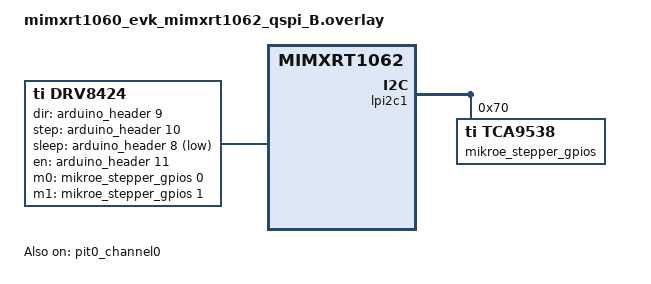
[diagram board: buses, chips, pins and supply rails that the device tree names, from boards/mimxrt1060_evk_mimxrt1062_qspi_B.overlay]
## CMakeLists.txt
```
# SPDX-FileCopyrightText: Copyright (c) 2025 Navimatix GmbH
# SPDX-License-Identifier: Apache-2.0

cmake_minimum_required(VERSION 3.20.0)
find_package(Zephyr REQUIRED HINTS $ENV{ZEPHYR_BASE})
project(stepper_const_velocity)

target_sources(app PRIVATE src/main.c)
```

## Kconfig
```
# SPDX-FileCopyrightText: Copyright (c) 2025 Navimatix GmbH
# SPDX-License-Identifier: Apache-2.0

config ZTEST_SHUFFLE
	select ENTROPY_GENERATOR
	bool "Shuffle the order of tests and suites"

config USTEPS_PER_SECOND
	int "Test speed in microsteps/s"
	default 50
	help
	  Besides being the test speed, this value is also used in several tests as the number of
	  steps to take.

source "Kconfig.zephyr"
```

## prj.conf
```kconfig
# SPDX-FileCopyrightText: Copyright (c) 2025 Navimatix GmbH
# SPDX-License-Identifier: Apache-2.0

CONFIG_ZTEST=y
CONFIG_TEST=y
CONFIG_TEST_USERSPACE=y
CONFIG_LOG=y
CONFIG_STEPPER_LOG_LEVEL_DBG=y
CONFIG_STEPPER=y
CONFIG_POLL=y
CONFIG_I2C=y
CONFIG_GPIO=y
CONFIG_STEPPER_STEP_DIR_GENERATE_ISR_SAFE_EVENTS=y
```

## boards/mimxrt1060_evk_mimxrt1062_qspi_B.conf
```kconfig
# SPDX-FileCopyrightText: Copyright (c) 2025 Navimatix GmbH
# SPDX-License-Identifier: Apache-2.0

CONFIG_SPEED_STEPS=50
```

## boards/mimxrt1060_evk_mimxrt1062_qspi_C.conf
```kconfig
# Copyright (c) 2024 Navimatix GmbH
# SPDX-License-Identifier: Apache-2.0

CONFIG_SPEED_STEPS=50
```

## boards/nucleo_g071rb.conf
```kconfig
# SPDX-FileCopyrightText: Copyright (c) 2024 Jilay Sandeep Pandya
# SPDX-License-Identifier: Apache-2.0

CONFIG_SPEED_STEPS=50
```

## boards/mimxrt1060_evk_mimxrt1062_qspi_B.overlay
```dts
/*
 * SPDX-FileCopyrightText: Copyright (c) 2025 Navimatix GmbH
 * SPDX-License-Identifier: Apache-2.0
 */

#include <zephyr/dt-bindings/gpio/gpio.h>

&lpi2c1 {
	status = "okay";

	mikroe_stepper_gpios: mikroe_stepper_ctrl_tca9538a@70 {
		status = "okay";
		compatible = "ti,tca9538";

		reg = <0x70>;

		gpio-controller;
		ngpios = <8>;
		#gpio-cells = <2>;

		gpio-reserved-ranges = <7 1>;

		gpio-line-names =
			"M0",
			"M1",
			"DEC0",
			"DEC1",
			"TOFF",
			"STP",
			"DIR";
	};
};

/ {
	chosen {
		zephyr,stepper = &drv8424;
	};

	drv8424: drv8424{
		status = "okay";
		compatible = "ti,drv8424";

		dir-gpios = <&arduino_header 9 0>; /* D3 */
		step-gpios = <&arduino_header 10 0>; /* D4 */
		sleep-gpios = <&arduino_header 8 GPIO_ACTIVE_LOW>; /* D2 */
		en-gpios  = <&arduino_header 11 0>; /* D5 */
		m0-gpios = <&mikroe_stepper_gpios 0 0>;
		m1-gpios = <&mikroe_stepper_gpios 1 0>;
		counter = <&pit0_channel0>;
	};
};

&pit0_channel0 {
	status = "okay";
};
```

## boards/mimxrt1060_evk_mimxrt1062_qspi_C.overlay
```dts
/*
 * Copyright (c) 2024 Navimatix GmbH
 * SPDX-License-Identifier: Apache-2.0
 */

#include <zephyr/dt-bindings/gpio/gpio.h>

&lpi2c1 {
	status = "okay";

	mikroe_stepper_gpios: mikroe_stepper_ctrl_tca9538a@70 {
		status = "okay";
		compatible = "ti,tca9538";

		reg = <0x70>;

		gpio-controller;
		ngpios = <8>;
		#gpio-cells = <2>;

		gpio-reserved-ranges = <7 1>;

		gpio-line-names =
			"M0",
			"M1",
			"DEC0",
			"DEC1",
			"TOFF",
			"STP",
			"DIR";
	};
};

/ {
	chosen {
		zephyr,stepper = &drv8424;
	};

	drv8424: drv8424 {
		status = "okay";
		compatible = "ti,drv8424";

		dir-gpios = <&arduino_header 9 0>; /* D3 */
		step-gpios = <&arduino_header 10 0>; /* D4 */
		sleep-gpios = <&arduino_header 8 GPIO_ACTIVE_LOW>; /* D2 */
		en-gpios  = <&arduino_header 11 0>; /* D5 */
		m0-gpios = <&mikroe_stepper_gpios 0 0>;
		m1-gpios = <&mikroe_stepper_gpios 1 0>;
		counter = <&pit0_channel0>;
	};
};

&pit0_channel0 {
	status = "okay";
};
```

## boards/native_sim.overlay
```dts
/*
 * Copyright (c) 2024 Navimatix GmbH
 * SPDX-License-Identifier: Apache-2.0
 */

#include <zephyr/dt-bindings/gpio/gpio.h>

/ {
	chosen {
		zephyr,stepper = &drv8424;
	};

	drv8424: drv8424 {
		status = "okay";
		compatible = "ti,drv8424";


		dir-gpios = <&gpio1 0 0>; /* D3 */
		step-gpios = <&gpio1 1 0>; /* D4 */
		sleep-gpios = <&gpio2 0 GPIO_ACTIVE_LOW>; /* D2 */
		en-gpios = <&gpio2 1 0>; /* 5 */
		m0-gpios = <&gpio3 0 0>;
		m1-gpios = <&gpio3 1 0>;
		counter = <&counter0>;

		#address-cells = <1>;
		#size-cells = <0>;
		#stepper-motor-cells = <0>;
	};

	gpio1: gpio1 {
		compatible = "zephyr,gpio-emul";
		#gpio-cells = <0x2>;
		status = "okay";
		gpio-controller;
	};

	gpio2: gpio2 {
		compatible = "zephyr,gpio-emul";
		#gpio-cells = <0x2>;
		status = "okay";
		gpio-controller;
	};

	gpio3: gpio3 {
		compatible = "zephyr,gpio-emul";
		#gpio-cells = <0x2>;
		status = "okay";
		gpio-controller;
	};
};
```

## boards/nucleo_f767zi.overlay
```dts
/*
 * SPDX-FileCopyrightText: Copyright (c) 2025 Navimatix GmbH
 * SPDX-License-Identifier: Apache-2.0
 */

#include <zephyr/dt-bindings/gpio/gpio.h>

&i2c1 {
	status = "okay";

	mikroe_stepper_gpios: mikroe_stepper_ctrl_tca9538a@70 {
		status = "okay";
		compatible = "ti,tca9538";

		reg = <0x70>;

		gpio-controller;
		ngpios = <8>;
		#gpio-cells = <2>;

		gpio-reserved-ranges = <7 1>;

		gpio-line-names =
			"M0",
			"M1",
			"DEC0",
			"DEC1",
			"TOFF",
			"STP",
			"DIR";
	};
};

/ {
	chosen {
		zephyr,stepper = &drv8424;
	};

	drv8424: drv8424 {
		status = "okay";
		compatible = "ti,drv8424";

		dir-gpios = <&arduino_header 18 0>; /* D12 */
		step-gpios = <&arduino_header 19 0>; /* D13 */
		sleep-gpios = <&arduino_header 15 GPIO_ACTIVE_LOW>; /* D9 */
		en-gpios  = <&arduino_header 14 0>; /* D8 */
		m0-gpios = <&mikroe_stepper_gpios 0 0>;
		m1-gpios = <&mikroe_stepper_gpios 1 0>;
		counter = <&counter2>;
	};
};

&timers2 {
	status = "okay";
	counter2: counter {
		status = "okay";
	};
};
```

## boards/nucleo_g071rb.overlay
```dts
/*
 * SPDX-FileCopyrightText: Copyright (c) 2024 Jilay Sandeep Pandya
 * SPDX-License-Identifier: Apache-2.0
 */

/ {
	chosen {
		zephyr,stepper = &gpio_stepper;
	};

	gpio_stepper: gpio_stepper {
		compatible = "zephyr,gpio-stepper";
		status = "okay";
		micro-step-res = <1>;
		gpios = <&gpioa 9 GPIO_ACTIVE_HIGH>,
			<&gpioc 7 GPIO_ACTIVE_HIGH>,
			<&gpiob 0 GPIO_ACTIVE_HIGH>,
			<&gpioa 7 GPIO_ACTIVE_HIGH>;
	};
};
```

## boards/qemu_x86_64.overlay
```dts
/*
 * SPDX-FileCopyrightText: Copyright (c) 2024 Jilay Sandeep Pandya
 * SPDX-License-Identifier: Apache-2.0
 */

/ {
	test {
		#address-cells = <1>;
		#size-cells = <1>;

		test_gpio: gpio@deadbeef {
			compatible = "vnd,gpio";
			gpio-controller;
			reg = <0xdeadbeef 0x1000>;
			#gpio-cells = <0x2>;
			status = "okay";
		};
	};
};

/ {
	chosen {
		zephyr,stepper = &gpio_stepper;
	};

	gpio_stepper: gpio_stepper {
		compatible = "zephyr,gpio-stepper";
		status = "okay";
		micro-step-res = <1>;
		gpios = <&test_gpio 0 0>,
			<&test_gpio 0 0>,
			<&test_gpio 0 0>,
			<&test_gpio 0 0>;
	};
};
```

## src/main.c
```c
/*
 * SPDX-FileCopyrightText: Copyright 2025 Navimatix GmbH
 *
 * SPDX-License-Identifier: Apache-2.0
 */

#include <zephyr/drivers/gpio.h>
#include <zephyr/kernel.h>
#include <zephyr/ztest_assert.h>
#include <stdbool.h>
#include <stdint.h>
#include <zephyr/ztest.h>
#include <zephyr/drivers/stepper.h>

#include <zephyr/logging/log.h>
LOG_MODULE_REGISTER(stepper_api, CONFIG_STEPPER_LOG_LEVEL);

#define TEST_INTERVAL (NSEC_PER_SEC / CONFIG_USTEPS_PER_SECOND)
#define RUNTIME                                                                                    \
	(K_MSEC(1000 + DIV_ROUND_UP(2 * MSEC_PER_SEC,                                              \
				    CONFIG_USTEPS_PER_SECOND))) /* 1sec + time 2 steps */

struct stepper_const_velocity_fixture {
	const struct device *dev;
	stepper_event_callback_t callback;
	uint32_t test_steps;
};

struct k_poll_signal stepper_signal;
struct k_poll_event stepper_event;
void *user_data_received;

#define POLL_AND_CHECK_SIGNAL(signal, event, expected_event, timeout)                              \
	({                                                                                         \
		(void)k_poll(&(event), 1, timeout);                                                \
		unsigned int signaled;                                                             \
		int result;                                                                        \
		k_poll_signal_check(&(signal), &signaled, &result);                                \
		zassert_equal(signaled, 1, "Signal not set");                                      \
		zassert_equal(result, (expected_event), "Signal not set");                         \
	})

static void stepper_const_velocity_print_event_callback(const struct device *dev,
							enum stepper_event event, void *user_data)
{
	const struct device *dev_callback = user_data;

	user_data_received = user_data;

	switch (event) {
	case STEPPER_EVENT_STEPS_COMPLETED:
		k_poll_signal_raise(&stepper_signal, STEPPER_EVENT_STEPS_COMPLETED);
		break;
	case STEPPER_EVENT_LEFT_END_STOP_DETECTED:
		k_poll_signal_raise(&stepper_signal, STEPPER_EVENT_LEFT_END_STOP_DETECTED);
		break;
	case STEPPER_EVENT_RIGHT_END_STOP_DETECTED:
		k_poll_signal_raise(&stepper_signal, STEPPER_EVENT_RIGHT_END_STOP_DETECTED);
		break;
	case STEPPER_EVENT_STALL_DETECTED:
		k_poll_signal_raise(&stepper_signal, STEPPER_EVENT_STALL_DETECTED);
		break;
	case STEPPER_EVENT_STOPPED:
		k_poll_signal_raise(&stepper_signal, STEPPER_EVENT_STOPPED);
		break;
	default:
		break;
	}

	LOG_DBG("Event %d, %s called for %s, expected for %s", event, __func__, dev_callback->name,
		dev->name);
}

static void *stepper_const_velocity_setup(void)
{
	static struct stepper_const_velocity_fixture fixture = {
		.dev = DEVICE_DT_GET(DT_ALIAS(stepper)),
		.callback = stepper_const_velocity_print_event_callback,
		.test_steps = CONFIG_USTEPS_PER_SECOND,
	};

	k_poll_signal_init(&stepper_signal);
	k_poll_event_init(&stepper_event, K_POLL_TYPE_SIGNAL, K_POLL_MODE_NOTIFY_ONLY,
			  &stepper_signal);

	zassert_not_null(fixture.dev);
	return &fixture;
}

static void stepper_const_velocity_before(void *f)
{
	struct stepper_const_velocity_fixture *fixture = f;
	(void)stepper_set_reference_position(fixture->dev, 0);
	(void)stepper_set_event_callback(fixture->dev, fixture->callback, (void *)fixture->dev);
	(void)stepper_set_microstep_interval(fixture->dev, TEST_INTERVAL);
	k_poll_signal_reset(&stepper_signal);
}

static void stepper_const_velocity_after(void *f)
{
	struct stepper_const_velocity_fixture *fixture = f;
	(void)stepper_enable(fixture->dev, false);
}

ZTEST_F(stepper_const_velocity, test_move_to_positive_direction_movement)
{
	int32_t pos;

	(void)stepper_enable(fixture->dev, true);
	(void)stepper_move_to(fixture->dev, fixture->test_steps);

	POLL_AND_CHECK_SIGNAL(stepper_signal, stepper_event, STEPPER_EVENT_STEPS_COMPLETED,
			      RUNTIME);

	(void)stepper_get_actual_position(fixture->dev, &pos);
	zassert_equal(pos, fixture->test_steps, "Target position should be %d but is %d",
		      fixture->test_steps, pos);
}

ZTEST_F(stepper_const_velocity, test_move_to_negative_direction_movement)
{
	int32_t pos;

	(void)stepper_enable(fixture->dev, true);
	(void)stepper_move_to(fixture->dev, -fixture->test_steps);

	POLL_AND_CHECK_SIGNAL(stepper_signal, stepper_event, STEPPER_EVENT_STEPS_COMPLETED,
			      RUNTIME);

	(void)stepper_get_actual_position(fixture->dev, &pos);
	zassert_equal(pos, -fixture->test_steps, "Target position should be %d but is %d",
		      -fixture->test_steps, pos);
}

ZTEST_F(stepper_const_velocity, test_move_to_positive_direction_velocity)
{
	int32_t pos;

	(void)stepper_enable(fixture->dev, true);
	(void)stepper_move_to(fixture->dev, fixture->test_steps);
	k_msleep(500);

	(void)stepper_get_actual_position(fixture->dev, &pos);
	zassert_true(IN_RANGE(pos, DIV_ROUND_UP(fixture->test_steps, 2) - 1,
			      DIV_ROUND_UP(fixture->test_steps, 2) + 1),
		     "Target position should be between %d and %d but is %d",
		     DIV_ROUND_UP(fixture->test_steps, 2) - 1,
		     DIV_ROUND_UP(fixture->test_steps, 2) + 1, pos);
}

ZTEST_F(stepper_const_velocity, test_move_to_negative_direction_velocity)
{
	int32_t pos;

	(void)stepper_enable(fixture->dev, true);
	(void)stepper_move_to(fixture->dev, -fixture->test_steps);
	k_msleep(500);

	(void)stepper_get_actual_position(fixture->dev, &pos);
	zassert_true(IN_RANGE(pos, -DIV_ROUND_UP(fixture->test_steps, 2) - 1,
			      -DIV_ROUND_UP(fixture->test_steps, 2) + 1),
		     "Target position should be between %d and %d but is %d",
		     -DIV_ROUND_UP(fixture->test_steps, 2) - 1,
		     -DIV_ROUND_UP(fixture->test_steps, 2) + 1, pos);
}

ZTEST_F(stepper_const_velocity, test_move_by_positive_step_count)
{
	int32_t steps;

	(void)stepper_enable(fixture->dev, true);
	(void)stepper_move_by(fixture->dev, fixture->test_steps);

	POLL_AND_CHECK_SIGNAL(stepper_signal, stepper_event, STEPPER_EVENT_STEPS_COMPLETED,
			      RUNTIME);

	(void)stepper_get_actual_position(fixture->dev, &steps);
	zassert_equal(steps, fixture->test_steps, "Target position should be %d but is %d",
		      fixture->test_steps, steps);
}

ZTEST_F(stepper_const_velocity, test_move_by_negative_step_count)
{
	int32_t steps;

	(void)stepper_enable(fixture->dev, true);
	(void)stepper_move_by(fixture->dev, -fixture->test_steps);

	POLL_AND_CHECK_SIGNAL(stepper_signal, stepper_event, STEPPER_EVENT_STEPS_COMPLETED,
			      RUNTIME);

	(void)stepper_get_actual_position(fixture->dev, &steps);
	zassert_equal(steps, -fixture->test_steps, "Target position should be %d but is %d",
		      -fixture->test_steps, steps);
}

ZTEST_F(stepper_const_velocity, test_move_by_positive_direction_velocity)
{
	int32_t pos;

	(void)stepper_enable(fixture->dev, true);
	(void)stepper_move_by(fixture->dev, fixture->test_steps);
	k_msleep(500);

	(void)stepper_get_actual_position(fixture->dev, &pos);
	zassert_true(IN_RANGE(pos, DIV_ROUND_UP(fixture->test_steps, 2) - 1,
			      DIV_ROUND_UP(fixture->test_steps, 2) + 1),
		     "Target position should be between %d and %d but is %d",
		     DIV_ROUND_UP(fixture->test_steps, 2) - 1,
		     DIV_ROUND_UP(fixture->test_steps, 2) + 1, pos);
}

ZTEST_F(stepper_const_velocity, test_move_by_negative_direction_velocity)
{
	int32_t pos;

	(void)stepper_enable(fixture->dev, true);
	(void)stepper_move_by(fixture->dev, -fixture->test_steps);
	k_msleep(500);

	(void)stepper_get_actual_position(fixture->dev, &pos);
	zassert_true(IN_RANGE(pos, -DIV_ROUND_UP(fixture->test_steps, 2) - 1,
			      -DIV_ROUND_UP(fixture->test_steps, 2) + 1),
		     "Target position should be between %d and %d but is %d",
		     -DIV_ROUND_UP(fixture->test_steps, 2) - 1,
		     -DIV_ROUND_UP(fixture->test_steps, 2) + 1, pos);
}

ZTEST_F(stepper_const_velocity, test_run_positive_direction_correct_position)
{
	int32_t steps;

	(void)stepper_enable(fixture->dev, true);
	(void)stepper_run(fixture->dev, STEPPER_DIRECTION_POSITIVE);
	k_msleep(1000);

	(void)stepper_get_actual_position(fixture->dev, &steps);
	zassert_true(IN_RANGE(steps, fixture->test_steps - 1, fixture->test_steps + 1),
		     "Current position should be between %u and %u but is %d",
		     fixture->test_steps - 1, fixture->test_steps + 1, steps);
}

ZTEST_F(stepper_const_velocity, test_run_negative_direction_correct_position)
{
	int32_t steps;

	(void)stepper_enable(fixture->dev, true);
	(void)stepper_run(fixture->dev, STEPPER_DIRECTION_NEGATIVE);
	k_msleep(1000);

	(void)stepper_get_actual_position(fixture->dev, &steps);
	zassert_true(IN_RANGE(steps, -fixture->test_steps - 1, -fixture->test_steps + 1),
		     "Current position should be between %d and %d but is %d",
		     -fixture->test_steps - 1, -fixture->test_steps + 1, steps);
}

ZTEST_SUITE(stepper_const_velocity, NULL, stepper_const_velocity_setup,
	    stepper_const_velocity_before, stepper_const_velocity_after, NULL);
```
